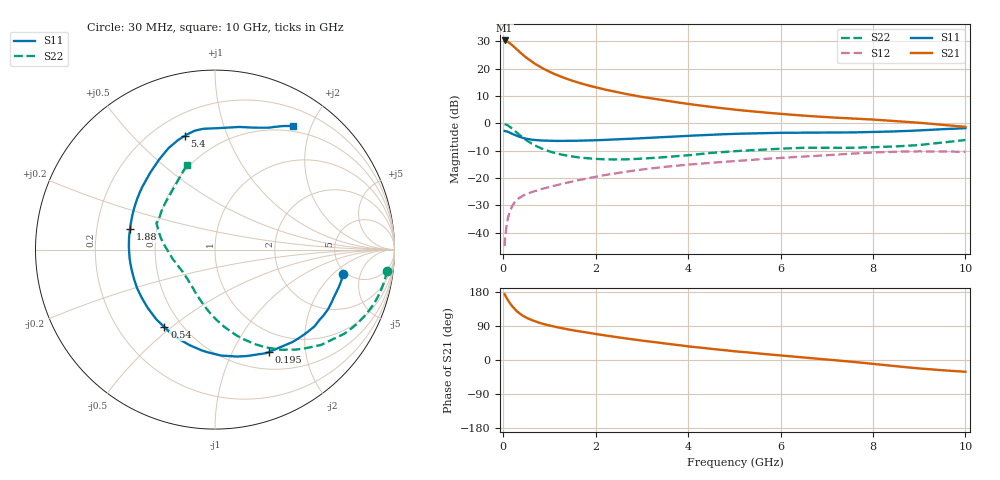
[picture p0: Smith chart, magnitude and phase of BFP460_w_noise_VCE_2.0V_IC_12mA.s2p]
! (c) 2016  Infineon Technologies AG, Munich
! Infineon Technologies  Discrete & RF Semiconductors
! BFP460
! VCE =  2.0 V,  IC =  12 mA
! Common Emitter S-Parameters:  Jan 2016
# GHz  S  MA  R  50
!  f  S11  S21  S12  S22
! GHz  MAG  ANG  MAG  ANG  MAG  ANG  MAG  ANG
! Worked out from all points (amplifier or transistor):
!   229 points, 30 MHz to 10 GHz, reference 50 ohm
!   highest |S21| = 30.3 dB at 30 MHz (marker M1)
!   |S21| within 3 dB of that: start of sweep to 277.6 MHz
!   unconditionally stable (mu >= 1): 2.253 GHz to 7.982 GHz
!   at 280 MHz: K = 0.30, MSG = 27.8 dB, |S12| = -28.2 dB
!   at 1.78 GHz: K = 0.95, MSG = 17.2 dB, |S12| = -20.2 dB
!   at 10 GHz: K = 0.98, MSG = 4.5 dB, |S12| = -10.4 dB
!   lowest NFmin = 1.03 dB at 450 MHz
!   S11 on the Smith chart (normalised r, x): 30 MHz: 4.72, -2.70; 195 MHz: 0.72, -1.40; 540 MHz: 0.40, -0.47; 1.88 GHz: 0.35, +0.11; 5.4 GHz: 0.32, +0.72; 10 GHz: 0.42, +1.74
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0.03  0.7268 -10.7  32.73 173.7  0.0057 86.1  0.9656 -7.0
0.05  0.7204 -17.1  32.25 168.4  0.0093 80.8  0.9573 -11.7
0.07  0.7128 -24.5  31.99 164.2  0.0131 78.8  0.9442 -16.3
0.12  0.6921 -40.9  30.16 154.6  0.0212 71.5  0.8948 -27.2
0.15  0.6723 -49.9  28.84 149.0  0.0254 67.7  0.8584 -33.2
0.195  0.6448 -62.3  26.82 141.9  0.0308 62.7  0.7989 -41.1
0.26  0.6088 -78.2  23.92 133.0  0.0372 57.4  0.7167 -51.0
0.36  0.5653 -98.0  20 122.3  0.0441 51.8  0.6062 -63.3
0.45  0.5372 -112.1  17.17 114.9  0.0488 49.0  0.5281 -71.9
0.54  0.5156 -123.1  15 109.6  0.0525 47.5  0.4685 -78.6
0.7  0.4958 -139.3  12.05 101.4  0.0584 46.3  0.3901 -89.0
0.92  0.483 -154.9  9.477 93.4  0.0661 46.3  0.3243 -99.7
1.3  0.4784 -173.8  6.866 83.2  0.0796 47.0  0.265 -113.8
1.7  0.4837 171.8  5.32 74.5  0.0945 47.1  0.2356 -125.3
1.88  0.4871 166.3  4.833 71.0  0.1014 46.8  0.2281 -130.0
2.6  0.5161 147.6  3.52 57.8  0.1288 44.1  0.2194 -148.4
3.4  0.5551 131.5  2.69 45.2  0.157 39.2  0.2381 -166.0
5.1  0.6468 107.7  1.749 22.1  0.2071 28.5  0.3137 166.4
5.4  0.6565 104.7  1.651 18.7  0.2165 26.7  0.323 163.7
6.8  0.675 92.6  1.331 3.4  0.2557 17.5  0.3574 154.6
8.4  0.7096 73.4  1.114 -15.2  0.3022 4.1  0.3767 138.6
10  0.8151 57.7  0.864 -31.0  0.3031 -8.2  0.4961 108.5
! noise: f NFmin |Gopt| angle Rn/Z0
0.45  1.03  0.09  22  0.14
1.9  1.19  0.09  -179  0.12
3.5  1.2  0.36  -133  0.12
